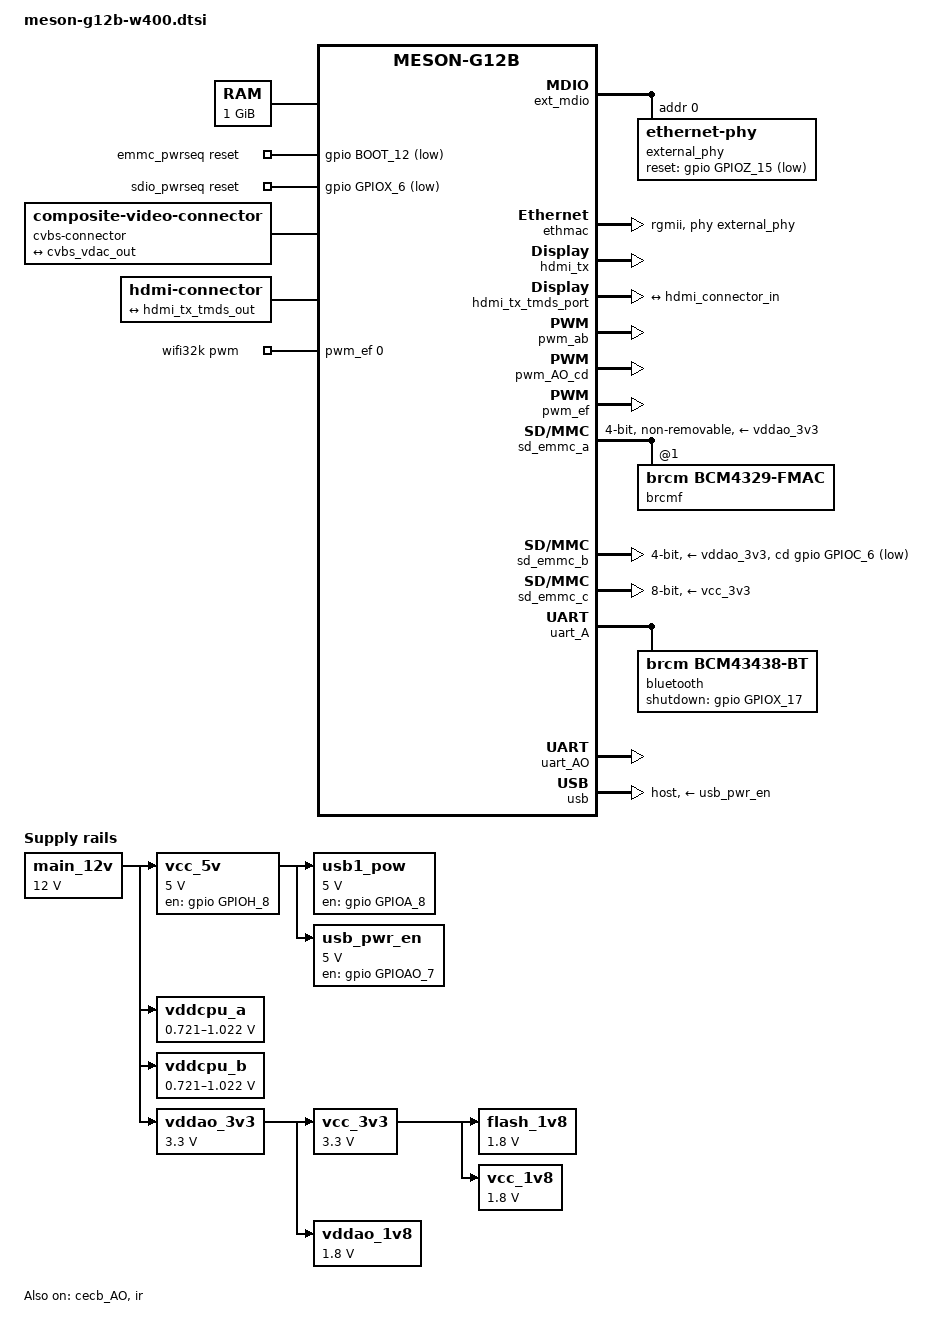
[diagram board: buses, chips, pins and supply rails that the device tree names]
// SPDX-License-Identifier: (GPL-2.0+ OR MIT)
/*
 * Copyright (c) 2019 BayLibre, SAS
 * Author: Neil Armstrong <narmstrong@baylibre.com>
 * Copyright (c) 2019 Christian Hewitt <christianshewitt@gmail.com>
 */

/dts-v1/;

#include "meson-g12b.dtsi"
#include "meson-g12b-s922x.dtsi"
#include <dt-bindings/input/input.h>
#include <dt-bindings/gpio/meson-g12a-gpio.h>

/ {
	aliases {
		serial0 = &uart_AO;
		ethernet0 = &ethmac;
	};

	chosen {
		stdout-path = "serial0:115200n8";
	};

	memory@0 {
		device_type = "memory";
		reg = <0x0 0x0 0x0 0x40000000>;
	};

	emmc_pwrseq: emmc-pwrseq {
		compatible = "mmc-pwrseq-emmc";
		reset-gpios = <&gpio BOOT_12 GPIO_ACTIVE_LOW>;
	};

	sdio_pwrseq: sdio-pwrseq {
		compatible = "mmc-pwrseq-simple";
		reset-gpios = <&gpio GPIOX_6 GPIO_ACTIVE_LOW>;
		clocks = <&wifi32k>;
		clock-names = "ext_clock";
	};

	flash_1v8: regulator-flash_1v8 {
		compatible = "regulator-fixed";
		regulator-name = "FLASH_1V8";
		regulator-min-microvolt = <1800000>;
		regulator-max-microvolt = <1800000>;
		vin-supply = <&vcc_3v3>;
		regulator-always-on;
	};

	main_12v: regulator-main_12v {
		compatible = "regulator-fixed";
		regulator-name = "12V";
		regulator-min-microvolt = <12000000>;
		regulator-max-microvolt = <12000000>;
		regulator-always-on;
	};

	vcc_5v: regulator-vcc_5v {
		compatible = "regulator-fixed";
		regulator-name = "VCC_5V";
		regulator-min-microvolt = <5000000>;
		regulator-max-microvolt = <5000000>;
		vin-supply = <&main_12v>;

		gpio = <&gpio GPIOH_8 GPIO_OPEN_DRAIN>;
		enable-active-high;
	};

	vcc_1v8: regulator-vcc_1v8 {
		compatible = "regulator-fixed";
		regulator-name = "VCC_1V8";
		regulator-min-microvolt = <1800000>;
		regulator-max-microvolt = <1800000>;
		vin-supply = <&vcc_3v3>;
		regulator-always-on;
	};

	vcc_3v3: regulator-vcc_3v3 {
		compatible = "regulator-fixed";
		regulator-name = "VCC_3V3";
		regulator-min-microvolt = <3300000>;
		regulator-max-microvolt = <3300000>;
		vin-supply = <&vddao_3v3>;
		regulator-always-on;
		/* FIXME: actually controlled by VDDCPU_B_EN */
	};

	vddcpu_a: regulator-vddcpu-a {
		/*
		 * MP1653 Regulator.
		 */
		compatible = "pwm-regulator";

		regulator-name = "VDDCPU_A";
		regulator-min-microvolt = <721000>;
		regulator-max-microvolt = <1022000>;

		pwm-supply = <&main_12v>;

		pwms = <&pwm_ab 0 1250 0>;
		pwm-dutycycle-range = <100 0>;

		regulator-boot-on;
		regulator-always-on;
	};

	vddcpu_b: regulator-vddcpu-b {
		/*
		 * MP1652 Regulator.
		 */
		compatible = "pwm-regulator";

		regulator-name = "VDDCPU_B";
		regulator-min-microvolt = <721000>;
		regulator-max-microvolt = <1022000>;

		pwm-supply = <&main_12v>;

		pwms = <&pwm_AO_cd 1 1250 0>;
		pwm-dutycycle-range = <100 0>;

		regulator-boot-on;
		regulator-always-on;
	};

	usb1_pow: regulator-usb1-pow {
		compatible = "regulator-fixed";
		regulator-name = "USB1_POW";
		regulator-min-microvolt = <5000000>;
		regulator-max-microvolt = <5000000>;
		vin-supply = <&vcc_5v>;

		/* connected to SY6280A Power Switch */
		gpio = <&gpio GPIOA_8 GPIO_ACTIVE_HIGH>;
		enable-active-high;
	};

	usb_pwr_en: regulator-usb-pwr-en {
		compatible = "regulator-fixed";
		regulator-name = "USB_PWR_EN";
		regulator-min-microvolt = <5000000>;
		regulator-max-microvolt = <5000000>;
		vin-supply = <&vcc_5v>;

		/* Connected to USB3 Type-A Port power enable */
		gpio = <&gpio GPIOAO_7 GPIO_ACTIVE_HIGH>;
		enable-active-high;
	};

	vddao_1v8: regulator-vddao-1v8 {
		compatible = "regulator-fixed";
		regulator-name = "VDDAO_1V8";
		regulator-min-microvolt = <1800000>;
		regulator-max-microvolt = <1800000>;
		vin-supply = <&vddao_3v3>;
		regulator-always-on;
	};

	vddao_3v3: regulator-vddao-3v3 {
		compatible = "regulator-fixed";
		regulator-name = "VDDAO_3V3";
		regulator-min-microvolt = <3300000>;
		regulator-max-microvolt = <3300000>;
		vin-supply = <&main_12v>;
		regulator-always-on;
	};

	cvbs-connector {
		compatible = "composite-video-connector";

		port {
			cvbs_connector_in: endpoint {
				remote-endpoint = <&cvbs_vdac_out>;
			};
		};
	};

	hdmi-connector {
		compatible = "hdmi-connector";
		type = "a";

		port {
			hdmi_connector_in: endpoint {
				remote-endpoint = <&hdmi_tx_tmds_out>;
			};
		};
	};

	wifi32k: wifi32k {
		compatible = "pwm-clock";
		#clock-cells = <0>;
		clock-frequency = <32768>;
		pwms = <&pwm_ef 0 30518 0>; /* PWM_E at 32.768KHz */
	};
};

&cec_AO {
	pinctrl-0 = <&cec_ao_a_h_pins>;
	pinctrl-names = "default";
	status = "disabled";
	hdmi-phandle = <&hdmi_tx>;
};

&cecb_AO {
	pinctrl-0 = <&cec_ao_b_h_pins>;
	pinctrl-names = "default";
	status = "okay";
	hdmi-phandle = <&hdmi_tx>;
};

&cpu0 {
	cpu-supply = <&vddcpu_b>;
	operating-points-v2 = <&cpu_opp_table_0>;
	clocks = <&clkc CLKID_CPU_CLK>;
	clock-latency = <50000>;
};

&cpu1 {
	cpu-supply = <&vddcpu_b>;
	operating-points-v2 = <&cpu_opp_table_0>;
	clocks = <&clkc CLKID_CPU_CLK>;
	clock-latency = <50000>;
};

&cpu100 {
	cpu-supply = <&vddcpu_a>;
	operating-points-v2 = <&cpub_opp_table_1>;
	clocks = <&clkc CLKID_CPUB_CLK>;
	clock-latency = <50000>;
};

&cpu101 {
	cpu-supply = <&vddcpu_a>;
	operating-points-v2 = <&cpub_opp_table_1>;
	clocks = <&clkc CLKID_CPUB_CLK>;
	clock-latency = <50000>;
};

&cpu102 {
	cpu-supply = <&vddcpu_a>;
	operating-points-v2 = <&cpub_opp_table_1>;
	clocks = <&clkc CLKID_CPUB_CLK>;
	clock-latency = <50000>;
};

&cpu103 {
	cpu-supply = <&vddcpu_a>;
	operating-points-v2 = <&cpub_opp_table_1>;
	clocks = <&clkc CLKID_CPUB_CLK>;
	clock-latency = <50000>;
};

&cvbs_vdac_port {
	cvbs_vdac_out: endpoint {
		remote-endpoint = <&cvbs_connector_in>;
	};
};

&ext_mdio {
	external_phy: ethernet-phy@0 {
		/* Realtek RTL8211F (0x001cc916) */
		reg = <0>;
		max-speed = <1000>;

		reset-assert-us = <10000>;
		reset-deassert-us = <80000>;
		reset-gpios = <&gpio GPIOZ_15 (GPIO_ACTIVE_LOW | GPIO_OPEN_DRAIN)>;

		interrupt-parent = <&gpio_intc>;
		/* MAC_INTR on GPIOZ_14 */
		interrupts = <26 IRQ_TYPE_LEVEL_LOW>;
	};
};

&ethmac {
	pinctrl-0 = <&eth_pins>, <&eth_rgmii_pins>;
	pinctrl-names = "default";
	status = "okay";
	phy-mode = "rgmii";
	phy-handle = <&external_phy>;
	amlogic,tx-delay-ns = <2>;
};

&hdmi_tx {
	status = "okay";
	pinctrl-0 = <&hdmitx_hpd_pins>, <&hdmitx_ddc_pins>;
	pinctrl-names = "default";
	hdmi-supply = <&vcc_5v>;
};

&hdmi_tx_tmds_port {
	hdmi_tx_tmds_out: endpoint {
		remote-endpoint = <&hdmi_connector_in>;
	};
};

&ir {
	status = "okay";
	pinctrl-0 = <&remote_input_ao_pins>;
	pinctrl-names = "default";
};

&pwm_ab {
	pinctrl-0 = <&pwm_a_e_pins>;
	pinctrl-names = "default";
	clocks = <&xtal>;
	clock-names = "clkin0";
	status = "okay";
};

&pwm_AO_cd {
	pinctrl-0 = <&pwm_ao_d_e_pins>;
	pinctrl-names = "default";
	clocks = <&xtal>;
	clock-names = "clkin1";
	status = "okay";
};

&pwm_ef {
	pinctrl-0 = <&pwm_e_pins>;
	pinctrl-names = "default";
	clocks = <&xtal>;
	clock-names = "clkin0";
	status = "okay";
};

/* SDIO */
&sd_emmc_a {
	status = "okay";
	pinctrl-0 = <&sdio_pins>;
	pinctrl-1 = <&sdio_clk_gate_pins>;
	pinctrl-names = "default", "clk-gate";
	#address-cells = <1>;
	#size-cells = <0>;

	bus-width = <4>;
	cap-sd-highspeed;
	max-frequency = <100000000>;

	/* WiFi firmware requires power to be kept while in suspend */
	keep-power-in-suspend;

	non-removable;
	disable-wp;

	mmc-pwrseq = <&sdio_pwrseq>;

	vmmc-supply = <&vddao_3v3>;
	vqmmc-supply = <&vddao_1v8>;

	brcmf: wifi@1 {
		reg = <1>;
		compatible = "brcm,bcm4329-fmac";
	};
};

/* SD card */
&sd_emmc_b {
	status = "okay";
	pinctrl-0 = <&sdcard_c_pins>;
	pinctrl-1 = <&sdcard_clk_gate_c_pins>;
	pinctrl-names = "default", "clk-gate";

	bus-width = <4>;
	cap-sd-highspeed;
	max-frequency = <50000000>;
	disable-wp;

	cd-gpios = <&gpio GPIOC_6 GPIO_ACTIVE_LOW>;
	vmmc-supply = <&vddao_3v3>;
	vqmmc-supply = <&vddao_3v3>;
};

/* eMMC */
&sd_emmc_c {
	status = "okay";
	pinctrl-0 = <&emmc_ctrl_pins>, <&emmc_data_8b_pins>, <&emmc_ds_pins>;
	pinctrl-1 = <&emmc_clk_gate_pins>;
	pinctrl-names = "default", "clk-gate";

	bus-width = <8>;
	cap-mmc-highspeed;
	max-frequency = <100000000>;
	disable-wp;

	mmc-pwrseq = <&emmc_pwrseq>;
	vmmc-supply = <&vcc_3v3>;
	vqmmc-supply = <&flash_1v8>;
};

&uart_A {
	status = "okay";
	pinctrl-0 = <&uart_a_pins>, <&uart_a_cts_rts_pins>;
	pinctrl-names = "default";
	uart-has-rtscts;

	bluetooth {
		compatible = "brcm,bcm43438-bt";
		shutdown-gpios = <&gpio GPIOX_17 GPIO_ACTIVE_HIGH>;
		max-speed = <2000000>;
		clocks = <&wifi32k>;
		clock-names = "lpo";
	};
};

&uart_AO {
	status = "okay";
	pinctrl-0 = <&uart_ao_a_pins>;
	pinctrl-names = "default";
};

&usb {
	status = "okay";
	dr_mode = "host";
	vbus-supply = <&usb_pwr_en>;
};

&usb2_phy0 {
	phy-supply = <&usb1_pow>;
};

&usb2_phy1 {
	phy-supply = <&usb1_pow>;
};
